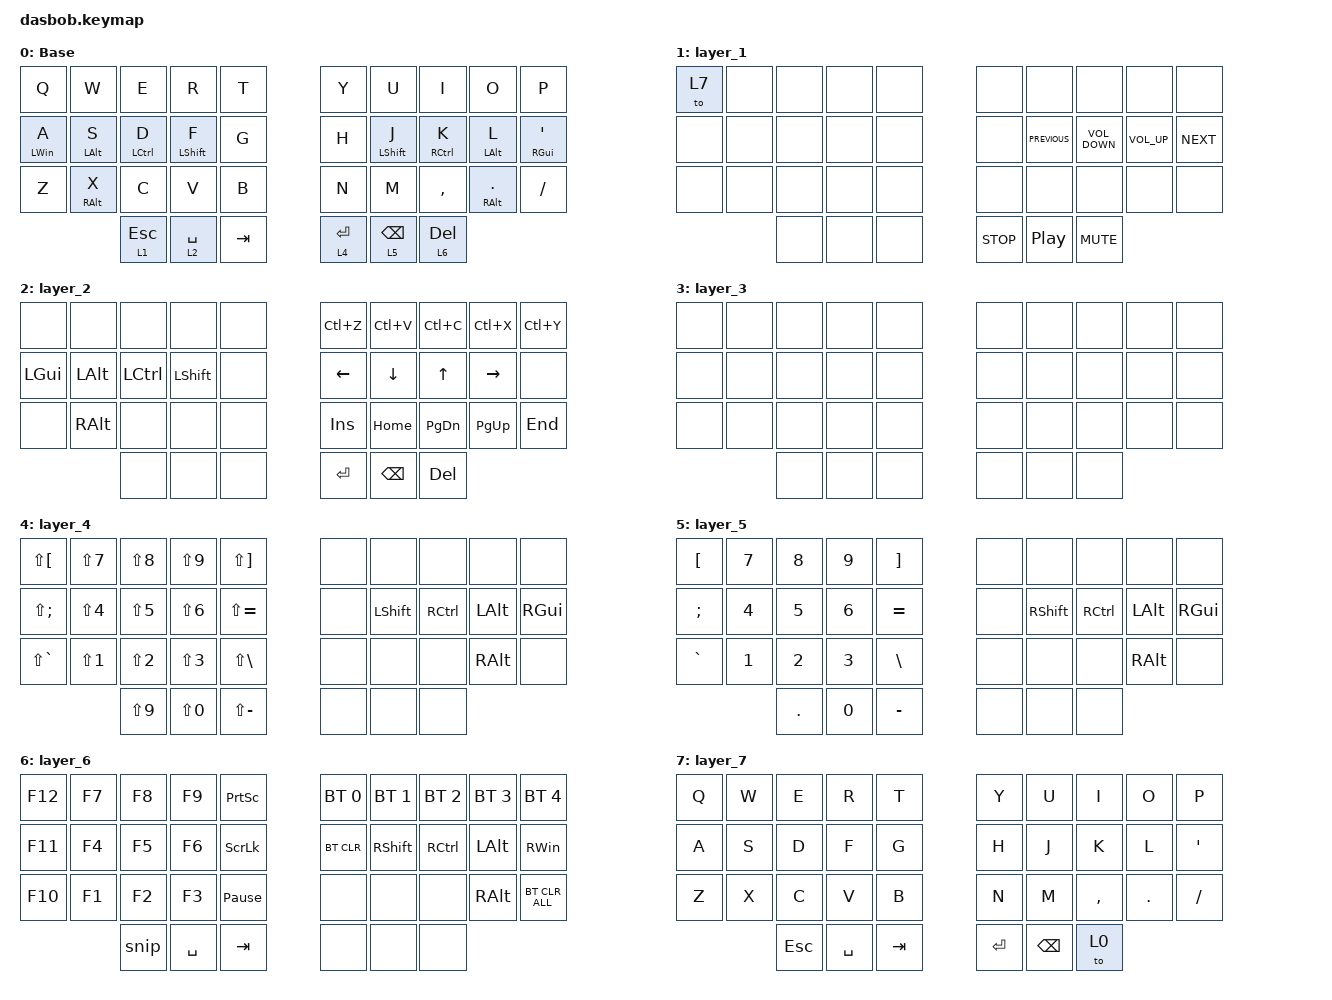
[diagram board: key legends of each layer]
#include <behaviors.dtsi>
#include <dt-bindings/zmk/bt.h>
#include <dt-bindings/zmk/keys.h>

/ {
    behaviors {
        hm: homerow_mods {
            compatible = "zmk,behavior-hold-tap";
            label = "HOMEROW_MODS";
            bindings = <&kp>, <&kp>;

            #binding-cells = <2>;
            tapping-term-ms = <280>;
            quick-tap-ms = <175>;
            require-prior-idle-ms = <150>;
            flavor = "balanced";
            hold-trigger-on-release;
        };
    };

    macros {
        repeat: repeat {
            compatible = "zmk,behavior-macro";
            #binding-cells = <0>;
            bindings = <&kp NUMBER_2 &kp NUMBER_4 &kp NUMBER_2 &kp NUMBER_4 &kp NUMBER_2 &kp NUMBER_4>;
            label = "REPEAT";
        };

        snip: snip {
            compatible = "zmk,behavior-macro";
            #binding-cells = <0>;
            bindings = <&kp LSHFT &kp LEFT_GUI &kp S>;
            label = "SNIP";
        };

        lock: lock {
            compatible = "zmk,behavior-macro";
            #binding-cells = <0>;
            bindings = <&kp LEFT_GUI &kp L>;
            label = "LOCK";
        };
    };

    keymap {
        compatible = "zmk,keymap";

        // This is a sample keymap intended to be replaced with your own

        Base {
            bindings = <
&kp Q           &kp W            &kp E         &kp R             &kp T    &kp Y        &kp U            &kp I         &kp O                 &kp P
&hm LEFT_WIN A  &hm LEFT_ALT S   &hm LCTRL D   &hm LEFT_SHIFT F  &kp G    &kp H        &hm LSHFT J      &hm RCTRL K   &hm LEFT_ALT L        &hm RIGHT_GUI SINGLE_QUOTE
&kp Z           &hm RIGHT_ALT X  &kp C         &kp V             &kp B    &kp N        &kp M            &kp COMMA     &hm RIGHT_ALT PERIOD  &kp SLASH
                                 &lt 1 ESCAPE  &lt 2 SPACE       &kp TAB  &lt 4 ENTER  &lt 5 BACKSPACE  &lt 6 DELETE
            >;
        };

        layer_1 {
            bindings = <
&to 7  &none  &none  &none  &none  &none       &none             &none              &none            &none
&none  &none  &none  &none  &none  &none       &kp C_PREVIOUS    &kp C_VOLUME_DOWN  &kp C_VOLUME_UP  &kp C_NEXT
&none  &none  &none  &none  &none  &none       &none             &none              &none            &none
              &none  &none  &none  &kp C_STOP  &kp C_PLAY_PAUSE  &kp C_MUTE
            >;
        };

        layer_2 {
            bindings = <
&none         &none          &none      &none           &none  &kp LC(Z)   &kp LC(V)       &kp LC(C)       &kp LC(X)     &kp LC(Y)
&kp LEFT_GUI  &kp LEFT_ALT   &kp LCTRL  &kp LEFT_SHIFT  &none  &kp LEFT_ARROW  &kp DOWN_ARROW  &kp UP_ARROW  &kp RIGHT_ARROW &none
&none         &kp RIGHT_ALT  &none      &none           &none  &kp INSERT  &kp HOME        &kp PAGE_DOWN   &kp PAGE_UP   &kp END
                             &none      &none           &none  &kp ENTER   &kp BACKSPACE   &kp DELETE
            >;
        };

        layer_3 {
            bindings = <
&none  &none  &none  &none  &none  &none  &none  &none  &none  &none
&none  &none  &none  &none  &none  &none  &none  &none  &none  &none
&none  &none  &none  &none  &none  &none  &none  &none  &none  &none
              &none  &none  &none  &none  &none  &none
            >;
        };

        layer_4 {
            bindings = <
&kp LS(LEFT_BRACKET)  &kp LS(NUMBER_7)  &kp LS(NUMBER_8)  &kp LS(NUMBER_9)  &kp LS(RIGHT_BRACKET)  &none  &none           &none              &none          &none
&kp LS(SEMI)          &kp LS(NUMBER_4)  &kp LS(NUMBER_5)  &kp LS(NUMBER_6)  &kp LS(EQUAL)          &none  &kp LEFT_SHIFT  &kp RIGHT_CONTROL  &kp LEFT_ALT   &kp RIGHT_GUI
&kp LS(GRAVE)         &kp LS(NUMBER_1)  &kp LS(NUMBER_2)  &kp LS(NUMBER_3)  &kp LS(BACKSLASH)      &none  &none           &none              &kp RIGHT_ALT  &none
                                        &kp LS(NUMBER_9)  &kp LS(NUMBER_0)  &kp LS(MINUS)          &none  &none           &none
            >;
        };

        layer_5 {
            bindings = <
&kp LEFT_BRACKET  &kp NUMBER_7  &kp NUMBER_8  &kp NUMBER_9  &kp RIGHT_BRACKET  &none  &none            &none      &none          &none
&kp SEMICOLON     &kp NUMBER_4  &kp NUMBER_5  &kp NUMBER_6  &kp EQUAL          &none  &kp RIGHT_SHIFT  &kp RCTRL  &kp LEFT_ALT   &kp RIGHT_GUI
&kp GRAVE         &kp NUMBER_1  &kp NUMBER_2  &kp NUMBER_3  &kp BACKSLASH      &none  &none            &none      &kp RIGHT_ALT  &none
                                &kp DOT       &kp NUMBER_0  &kp MINUS          &none  &none            &none
            >;
        };

        layer_6 {
            bindings = <
&kp F12  &kp F7  &kp F8  &kp F9     &kp PRINTSCREEN  &bt BT_SEL 0  &bt BT_SEL 1     &bt BT_SEL 2       &bt BT_SEL 3   &bt BT_SEL 4
&kp F11  &kp F4  &kp F5  &kp F6     &kp SCROLLLOCK   &bt BT_CLR    &kp RIGHT_SHIFT  &kp RIGHT_CONTROL  &kp LEFT_ALT   &kp RIGHT_WIN
&kp F10  &kp F1  &kp F2  &kp F3     &kp PAUSE_BREAK  &none         &none            &none              &kp RIGHT_ALT  &bt BT_CLR_ALL
                 &snip   &kp SPACE  &kp TAB          &none         &none            &none
            >;
        };

        layer_7 {
            bindings = <
&kp Q  &kp W  &kp E    &kp R      &kp T    &kp Y      &kp U          &kp I      &kp O       &kp P
&kp A  &kp S  &kp D    &kp F      &kp G    &kp H      &kp J          &kp K      &kp L       &kp SINGLE_QUOTE
&kp Z  &kp X  &kp C    &kp V      &kp B    &kp N      &kp M          &kp COMMA  &kp PERIOD  &kp SLASH
              &kp ESC  &kp SPACE  &kp TAB  &kp ENTER  &kp BACKSPACE  &to 0
            >;
        };
    };
};
